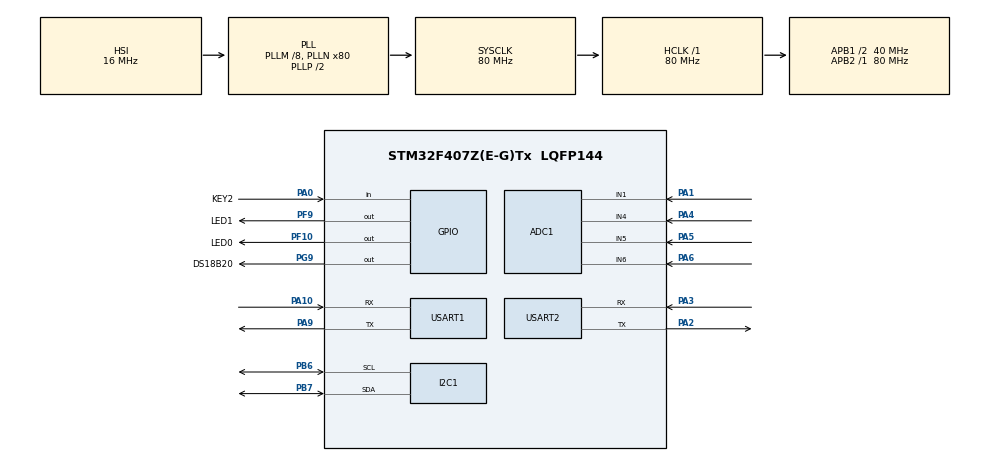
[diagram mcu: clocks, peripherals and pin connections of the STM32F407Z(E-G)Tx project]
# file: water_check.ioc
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ADC1.Channel-0\#ChannelRegularConversion=ADC_CHANNEL_1
ADC1.Channel-4\#ChannelRegularConversion=ADC_CHANNEL_4
ADC1.Channel-5\#ChannelRegularConversion=ADC_CHANNEL_5
ADC1.Channel-6\#ChannelRegularConversion=ADC_CHANNEL_6
ADC1.ContinuousConvMode=DISABLE
ADC1.DiscontinuousConvMode=ENABLE
ADC1.InjNumberOfConversion=0
ADC1.NbrOfConversion=4
ADC1.NbrOfConversionFlag=1
ADC1.Rank-0\#ChannelRegularConversion=1
ADC1.Rank-4\#ChannelRegularConversion=2
ADC1.Rank-5\#ChannelRegularConversion=3
ADC1.Rank-6\#ChannelRegularConversion=4
ADC1.SamplingTime-0\#ChannelRegularConversion=ADC_SAMPLETIME_3CYCLES
ADC1.SamplingTime-4\#ChannelRegularConversion=ADC_SAMPLETIME_3CYCLES
ADC1.SamplingTime-5\#ChannelRegularConversion=ADC_SAMPLETIME_3CYCLES
ADC1.SamplingTime-6\#ChannelRegularConversion=ADC_SAMPLETIME_3CYCLES
ADC1.ScanConvMode=ENABLE
ADC1.master=1
Dma.Request0=USART1_RX
Dma.Request1=USART1_TX
Dma.Request2=USART2_RX
Dma.Request3=USART2_TX
Dma.USART1_RX.0.Direction=DMA_PERIPH_TO_MEMORY
Dma.USART1_RX.0.FIFOMode=DMA_FIFOMODE_DISABLE
Dma.USART1_RX.0.Instance=DMA2_Stream2
Dma.USART1_RX.0.MemDataAlignment=DMA_MDATAALIGN_BYTE
Dma.USART1_RX.0.MemInc=DMA_MINC_ENABLE
Dma.USART1_RX.0.Mode=DMA_NORMAL
Dma.USART1_RX.0.PeriphDataAlignment=DMA_PDATAALIGN_BYTE
Dma.USART1_RX.0.PeriphInc=DMA_PINC_DISABLE
Dma.USART1_RX.0.Priority=DMA_PRIORITY_LOW
Dma.USART1_TX.1.Direction=DMA_MEMORY_TO_PERIPH
Dma.USART1_TX.1.FIFOMode=DMA_FIFOMODE_DISABLE
Dma.USART1_TX.1.Instance=DMA2_Stream7
Dma.USART1_TX.1.MemDataAlignment=DMA_MDATAALIGN_BYTE
Dma.USART1_TX.1.MemInc=DMA_MINC_ENABLE
Dma.USART1_TX.1.Mode=DMA_NORMAL
Dma.USART1_TX.1.PeriphDataAlignment=DMA_PDATAALIGN_BYTE
Dma.USART1_TX.1.PeriphInc=DMA_PINC_DISABLE
Dma.USART1_TX.1.Priority=DMA_PRIORITY_LOW
Dma.USART2_RX.2.Direction=DMA_PERIPH_TO_MEMORY
Dma.USART2_RX.2.FIFOMode=DMA_FIFOMODE_DISABLE
Dma.USART2_RX.2.Instance=DMA1_Stream5
Dma.USART2_RX.2.MemDataAlignment=DMA_MDATAALIGN_BYTE
Dma.USART2_RX.2.MemInc=DMA_MINC_ENABLE
Dma.USART2_RX.2.Mode=DMA_NORMAL
Dma.USART2_RX.2.PeriphDataAlignment=DMA_PDATAALIGN_BYTE
Dma.USART2_RX.2.PeriphInc=DMA_PINC_DISABLE
Dma.USART2_RX.2.Priority=DMA_PRIORITY_LOW
Dma.USART2_TX.3.Direction=DMA_MEMORY_TO_PERIPH
Dma.USART2_TX.3.FIFOMode=DMA_FIFOMODE_DISABLE
Dma.USART2_TX.3.Instance=DMA1_Stream6
Dma.USART2_TX.3.MemDataAlignment=DMA_MDATAALIGN_BYTE
Dma.USART2_TX.3.MemInc=DMA_MINC_ENABLE
Dma.USART2_TX.3.Mode=DMA_NORMAL
Dma.USART2_TX.3.PeriphDataAlignment=DMA_PDATAALIGN_BYTE
Dma.USART2_TX.3.PeriphInc=DMA_PINC_DISABLE
Dma.USART2_TX.3.Priority=DMA_PRIORITY_LOW
I2C1.I2C_Mode=I2C_Fast
Mcu.Family=STM32F4
Mcu.Name=STM32F407Z(E-G)Tx
Mcu.Package=LQFP144
NVIC.DMA1_Stream5_IRQn=true\:0\:0\:false\:false\:true\:false\:true\:true
NVIC.DMA1_Stream6_IRQn=true\:0\:0\:false\:false\:true\:false\:true\:true
NVIC.DMA2_Stream2_IRQn=true\:0\:0\:false\:false\:true\:false\:true\:true
NVIC.DMA2_Stream7_IRQn=true\:0\:0\:false\:false\:true\:false\:true\:true
NVIC.PriorityGroup=NVIC_PRIORITYGROUP_4
NVIC.USART1_IRQn=true\:0\:0\:false\:false\:true\:true\:true\:true
NVIC.USART2_IRQn=true\:0\:0\:false\:false\:true\:true\:true\:true
PA0-WKUP.GPIO_Label=KEY2
PA0-WKUP.GPIO_PuPd=GPIO_PULLDOWN
PA0-WKUP.Signal=GPIO_Input
PA1.Signal=ADCx_IN1
PA10.Mode=Asynchronous
PA10.Signal=USART1_RX
PA2.Mode=Asynchronous
PA2.Signal=USART2_TX
PA3.Mode=Asynchronous
PA3.Signal=USART2_RX
PA4.Signal=ADCx_IN4
PA5.Signal=ADCx_IN5
PA6.Signal=ADCx_IN6
PA9.Mode=Asynchronous
PA9.Signal=USART1_TX
PB6.Mode=I2C
PB6.Signal=I2C1_SCL
PB7.Mode=I2C
PB7.Signal=I2C1_SDA
PF10.GPIO_Label=LED0
PF10.Signal=GPIO_Output
PF9.GPIO_Label=LED1
PF9.PinState=GPIO_PIN_SET
PF9.Signal=GPIO_Output
PG9.GPIO_Label=DS18B20
PG9.GPIO_PuPd=GPIO_PULLUP
PG9.GPIO_Speed=GPIO_SPEED_FREQ_HIGH
PG9.Signal=GPIO_Output
PH0-OSC_IN.Mode=HSE-External-Oscillator
PH0-OSC_IN.Signal=RCC_OSC_IN
PH1-OSC_OUT.Mode=HSE-External-Oscillator
PH1-OSC_OUT.Signal=RCC_OSC_OUT
ProjectManager.HeapSize=0x200
ProjectManager.StackSize=0x400
ProjectManager.TargetToolchain=STM32CubeIDE
RCC.48MHZClocksFreq_Value=40000000
RCC.AHBFreq_Value=80000000
RCC.APB1CLKDivider=RCC_HCLK_DIV2
RCC.APB1Freq_Value=40000000
RCC.APB1TimFreq_Value=80000000
RCC.APB2Freq_Value=80000000
RCC.APB2TimFreq_Value=80000000
RCC.CortexFreq_Value=80000000
RCC.HCLKFreq_Value=80000000
RCC.HSE_VALUE=25000000
RCC.HSI_VALUE=16000000
RCC.LSE_VALUE=32768
RCC.PLLM=8
RCC.PLLN=80
RCC.SYSCLKFreq_VALUE=80000000
RCC.SYSCLKSource=RCC_SYSCLKSOURCE_PLLCLK
RCC.VCOOutputFreq_Value=160000000
SH.ADCx_IN1.0=ADC1_IN1,IN1
SH.ADCx_IN4.0=ADC1_IN4,IN4
SH.ADCx_IN5.0=ADC1_IN5,IN5
SH.ADCx_IN6.0=ADC1_IN6,IN6
TIM6.Prescaler=108-1
USART1.VirtualMode=VM_ASYNC
USART2.VirtualMode=VM_ASYNC
VP_TIM6_VS_ClockSourceINT.Mode=Enable_Timer
board=custom

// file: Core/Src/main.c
/* USER CODE BEGIN Header */
/**
  ******************************************************************************
  * @file           : main.c
  * @brief          : Main program body
  ******************************************************************************
  * @attention
  *
  * Copyright (c) 2023 STMicroelectronics.
  * All rights reserved.
  *
  * This software is licensed under terms that can be found in the LICENSE file
  * in the root directory of this software component.
  * If no LICENSE file comes with this software, it is provided AS-IS.
  *
  ******************************************************************************
  */
/* USER CODE END Header */
#include "main.h"
#include "adc.h"
#include "dma.h"
#include "i2c.h"
#include "tim.h"
#include "usart.h"
#include "gpio.h"

/* USER CODE BEGIN Includes */
#include "oled.h"
#include "stdio.h"
#include "esp8266.h"
#include "dS18B20.h"
/* USER CODE END Includes */

/* USER CODE BEGIN PTD */

uint8_t rebuf[50]={0};
int x=0;
void HAL_UARTEx_RxEventCallback(UART_HandleTypeDef *huart, uint16_t Size){
	if(huart==&huart2){
		 if (strstr((char*)rebuf, "attain")){
		   memset(rebuf,0,sizeof(rebuf));
		   HAL_GPIO_TogglePin(LED1_GPIO_Port, LED1_Pin);
	    }
	}
	HAL_UARTEx_ReceiveToIdle_DMA(&huart2, rebuf, sizeof(rebuf));
}

/* USER CODE END PTD */

void SystemClock_Config(void);

int main(void)
{
  /* USER CODE BEGIN 1 */
int flag=1,tem=0,tur=0;
float Tds=0,Ph=0,Weal,V;
bool WiFi_flag;
  /* USER CODE END 1 */

  /* MCU Configuration--------------------------------------------------------*/

  /* Reset of all peripherals, Initializes the Flash interface and the Systick. */
  HAL_Init();

  /* Configure the system clock */
  SystemClock_Config();

  /* Initialize all configured peripherals */
  MX_GPIO_Init();
  MX_DMA_Init();
  MX_I2C1_Init();
  MX_USART1_UART_Init();
  MX_USART2_UART_Init();
  MX_TIM6_Init();
  MX_ADC1_Init();
  /* USER CODE BEGIN 2 */
  HAL_Delay(1000);
  led_init();
  clear_olde();
  oled_wait();
  while(DS18B20_Init());
  HAL_UARTEx_ReceiveToIdle_DMA(&huart2, rebuf, sizeof(rebuf));
  HAL_Delay(2000);
  clear_olde();
  WiFi_flag=WIFI_Init();
  /* USER CODE END 2 */

  /* Infinite loop */
  /* USER CODE BEGIN WHILE */
  while (1)
  {
	  x++;
	  get_data(&Ph,&tur,&Weal,&Tds,(float)tem/10,&V);
	  printf("%f\r\n",V);
	  tem=DS18B20_Get_Temperature();
	  show_tem(0,0,tem);
	  show_tur(2,0,tur);
	  show_Ph(4,0,Ph*10);
	  show_Weal(2,64,(int)Weal);
	  show_Weal(4,64,(int)V);
	  HAL_Delay(50);
	  if((x%20==0||flag==1)&&WiFi_flag==1){
	      Send_Data(tem,tur,Ph,(int)Weal);
	      flag=0;
	  }
    /* USER CODE END WHILE */

  }
}

void SystemClock_Config(void)
{
  RCC_OscInitTypeDef RCC_OscInitStruct = {0};
  RCC_ClkInitTypeDef RCC_ClkInitStruct = {0};

  /** Configure the main internal regulator output voltage
  */
  __HAL_RCC_PWR_CLK_ENABLE();
  __HAL_PWR_VOLTAGESCALING_CONFIG(PWR_REGULATOR_VOLTAGE_SCALE1);

  /** Initializes the RCC Oscillators according to the specified parameters
  * in the RCC_OscInitTypeDef structure.
  */
  RCC_OscInitStruct.OscillatorType = RCC_OSCILLATORTYPE_HSI;
  RCC_OscInitStruct.HSIState = RCC_HSI_ON;
  RCC_OscInitStruct.HSICalibrationValue = RCC_HSICALIBRATION_DEFAULT;
  RCC_OscInitStruct.PLL.PLLState = RCC_PLL_ON;
  RCC_OscInitStruct.PLL.PLLSource = RCC_PLLSOURCE_HSI;
  RCC_OscInitStruct.PLL.PLLM = 8;
  RCC_OscInitStruct.PLL.PLLN = 80;
  RCC_OscInitStruct.PLL.PLLP = RCC_PLLP_DIV2;
  RCC_OscInitStruct.PLL.PLLQ = 4;
  if (HAL_RCC_OscConfig(&RCC_OscInitStruct) != HAL_OK)
  {
    Error_Handler();
  }

  /** Initializes the CPU, AHB and APB buses clocks
  */
  RCC_ClkInitStruct.ClockType = RCC_CLOCKTYPE_HCLK|RCC_CLOCKTYPE_SYSCLK
                              |RCC_CLOCKTYPE_PCLK1|RCC_CLOCKTYPE_PCLK2;
  RCC_ClkInitStruct.SYSCLKSource = RCC_SYSCLKSOURCE_PLLCLK;
  RCC_ClkInitStruct.AHBCLKDivider = RCC_SYSCLK_DIV1;
  RCC_ClkInitStruct.APB1CLKDivider = RCC_HCLK_DIV2;
  RCC_ClkInitStruct.APB2CLKDivider = RCC_HCLK_DIV1;

  if (HAL_RCC_ClockConfig(&RCC_ClkInitStruct, FLASH_LATENCY_2) != HAL_OK)
  {
    Error_Handler();
  }
}

void Error_Handler(void)
{
  __disable_irq();
  while (1)
  {
  }
}
